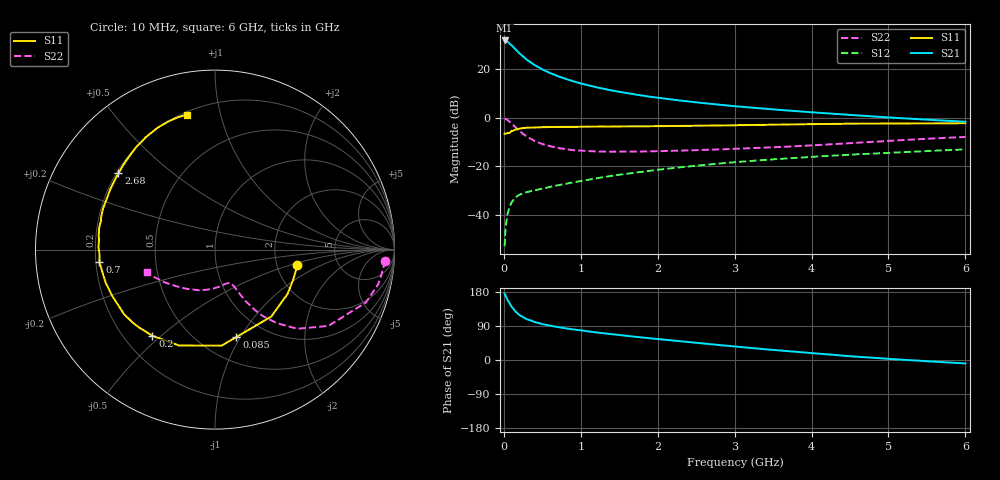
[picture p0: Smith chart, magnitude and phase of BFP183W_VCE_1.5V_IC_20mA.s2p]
! Infineon Technologies  Discrete & RF Semiconductors
! BFP183W
! VCE = 1.5 V,  IC =  20 mA
! Common Emitter S-Parameters:  Jan 2016
# GHz  S  MA  R  50
!  f  S11  S21  S12  S22
! GHz  MAG  ANG  MAG  ANG  MAG  ANG  MAG  ANG
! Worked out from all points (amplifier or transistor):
!   210 points, 10 MHz to 6 GHz, reference 50 ohm
!   highest |S21| = 31.7 dB at 10 MHz (marker M1)
!   |S21| within 3 dB of that: start of sweep to 132 MHz
!   unconditionally stable (mu >= 1): 781.6 MHz to 5.826 GHz
!   at 185 MHz: K = 0.38, MSG = 29.5 dB, |S12| = -32.0 dB
!   at 1.52 GHz: K = 1.19, MAG = 14.3 dB, |S12| = -23.4 dB
!   at 6 GHz: K = 0.99, MSG = 5.7 dB, |S12| = -13.0 dB
!   S11 on the Smith chart (normalised r, x): 10 MHz: 2.61, -0.57; 85 MHz: 0.74, -0.96; 200 MHz: 0.32, -0.47; 700 MHz: 0.21, -0.05; 2.68 GHz: 0.21, +0.33; 6 GHz: 0.22, +0.79
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0.01  0.4672 -10.6  38.35 174.7  0.0023 86.9  0.9503 -3.8
0.03  0.4738 -31.4  37.83 166.6  0.0067 79.8  0.9301 -11.9
0.05  0.4874 -50.0  36.15 157.9  0.0109 73.2  0.8911 -19.3
0.085  0.5012 -76.2  32.03 146.4  0.0159 62.0  0.7945 -29.1
0.1  0.5365 -86.1  30.73 140.7  0.0182 59.2  0.7614 -34.0
0.15  0.5705 -110.5  25.39 127.8  0.023 51.1  0.6347 -44.0
0.2  0.5935 -126.0  21.05 119.0  0.0259 46.7  0.5353 -49.9
0.26  0.6127 -138.2  17.38 111.6  0.0284 44.1  0.45 -54.5
0.3  0.6217 -144.6  15.35 107.5  0.0296 43.1  0.4053 -56.5
0.4  0.628 -155.7  11.96 100.2  0.0323 43.4  0.3315 -59.4
0.5  0.6366 -163.3  9.754 94.7  0.0349 44.7  0.2869 -60.7
0.6  0.6403 -169.0  8.212 90.4  0.0378 46.0  0.2582 -61.5
0.7  0.6476 -173.8  7.121 86.8  0.0409 47.7  0.239 -62.3
0.8  0.644 -177.5  6.231 83.6  0.0436 49.6  0.2252 -63.0
1.02  0.6488 175.5  4.927 77.6  0.0506 51.7  0.209 -65.2
1.4  0.6548 166.2  3.618 68.2  0.0638 54.4  0.2001 -70.2
2.02  0.6674 153.5  2.535 54.8  0.0857 54.9  0.2049 -81.3
2.68  0.6858 141.7  1.924 41.7  0.11 52.8  0.2197 -94.8
3.1  0.7006 134.7  1.666 33.9  0.1252 50.7  0.2319 -104.5
4.1  0.7376 120.4  1.255 16.6  0.1598 44.7  0.275 -128.4
5.1  0.7607 109.2  0.987 1.8  0.1929 38.0  0.3402 -148.6
6  0.7681 101.9  0.823 -9.2  0.2229 32.2  0.4018 -161.7
